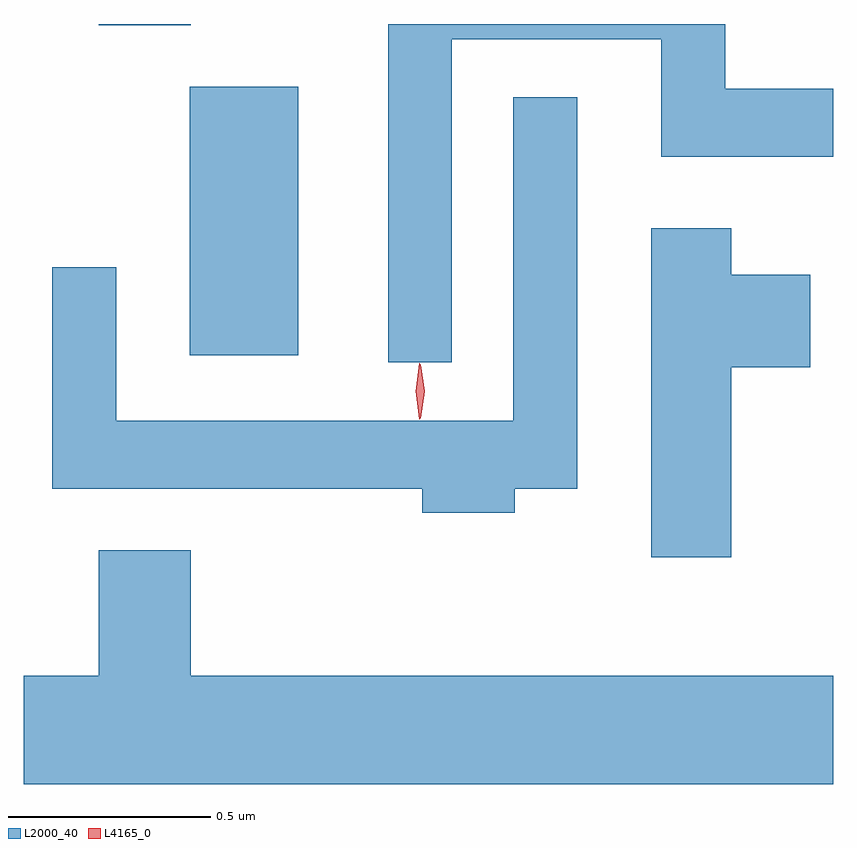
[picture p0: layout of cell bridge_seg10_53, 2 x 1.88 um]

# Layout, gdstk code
import gdstk
lib = gdstk.Library(unit=1e-6, precision=1e-09)
def R(c, l, rs):  # rectangles x0, y0, x1, y1
    for r in rs: c.add(gdstk.rectangle(r[:2], r[2:], *l))
def P(c, l, *ps):  # polygons
    for p in ps: c.add(gdstk.Polygon(p, *l))
L2000_40 = (2000, 40)
L4165_0 = (4165, 0)

bridge_seg10_53 = lib.new_cell('bridge_seg10_53')
R(bridge_seg10_53, L2000_40, [(1589.076,2179.356,1589.344,2180.019), (1588.851,2180.171,1589.079,2180.174)])
P(bridge_seg10_53, L2000_40, [(1589.724,2180.136),(1590.241,2180.136),(1590.241,2179.846),(1590.666,2179.846),(1590.666,2180.014),(1590.399,2180.014),(1590.399,2180.174),(1589.566,2180.174),(1589.566,2179.338),(1589.724,2179.338)],
  [(1589.879,2179.026),(1590.034,2179.026),(1590.034,2179.993),(1589.876,2179.993),(1589.876,2179.194),(1588.894,2179.194),(1588.894,2179.573),(1588.736,2179.573),(1588.736,2179.026),(1589.651,2179.026),(1589.651,2178.966),(1589.879,2178.966)],
  [(1590.414,2179.326),(1590.609,2179.326),(1590.609,2179.554),(1590.414,2179.554),(1590.414,2179.669),(1590.216,2179.669),(1590.216,2178.856),(1590.414,2178.856)],
  [(1590.666,2178.564),(1589.079,2178.564),(1589.079,2178.874),(1588.851,2178.874),(1588.851,2178.564),(1588.666,2178.564),(1588.666,2178.296),(1590.666,2178.296)])
P(bridge_seg10_53, L4165_0, [(1589.643,2179.197),(1589.634,2179.266),(1589.643,2179.336),(1589.644,2179.336),(1589.644,2179.336),(1589.654,2179.266),(1589.644,2179.197),(1589.644,2179.197)],
  [(1589.646,2179.2),(1589.637,2179.266),(1589.646,2179.332),(1589.646,2179.333),(1589.647,2179.332),(1589.657,2179.266),(1589.647,2179.2),(1589.647,2179.2)])

lib.write_gds('bridge_seg10_53.gds')
